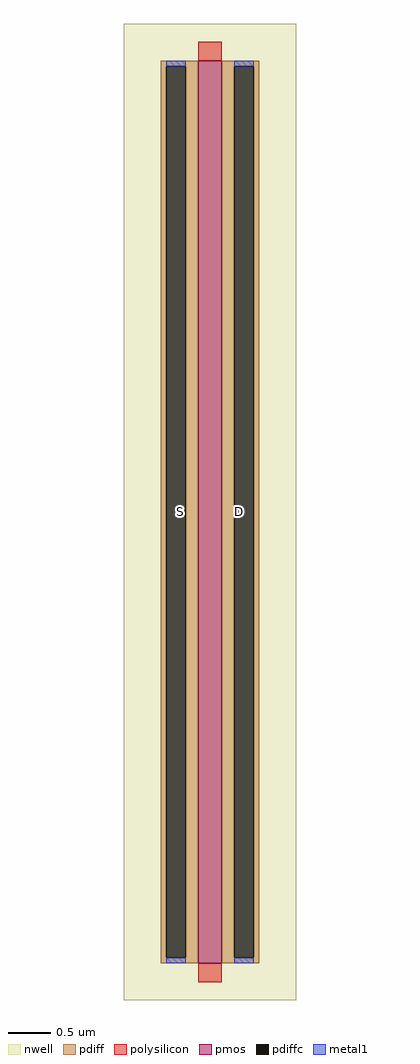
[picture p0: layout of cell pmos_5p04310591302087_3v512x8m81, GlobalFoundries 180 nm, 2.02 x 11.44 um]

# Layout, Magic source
magic
tech gf180mcuD
magscale 1 10
<< nwell >>
rect -174 -86 230 2202
<< pmos >>
rect 0 0 56 2116
<< pdiff >>
rect -88 2103 0 2116
rect -88 13 -75 2103
rect -29 13 0 2103
rect -88 0 0 13
rect 56 2103 144 2116
rect 56 13 85 2103
rect 131 13 144 2103
rect 56 0 144 13
<< pdiffc >>
rect -75 13 -29 2103
rect 85 13 131 2103
<< polysilicon >>
rect 0 2116 56 2160
rect 0 -44 56 0
<< metal1 >>
rect -75 2103 -29 2116
rect -75 0 -29 13
rect 85 2103 131 2116
rect 85 0 131 13
<< labels >>
flabel pdiffc -40 1058 -40 1058 0 FreeSans 186 0 0 0 S
flabel pdiffc 96 1058 96 1058 0 FreeSans 186 0 0 0 D
<< end >>
